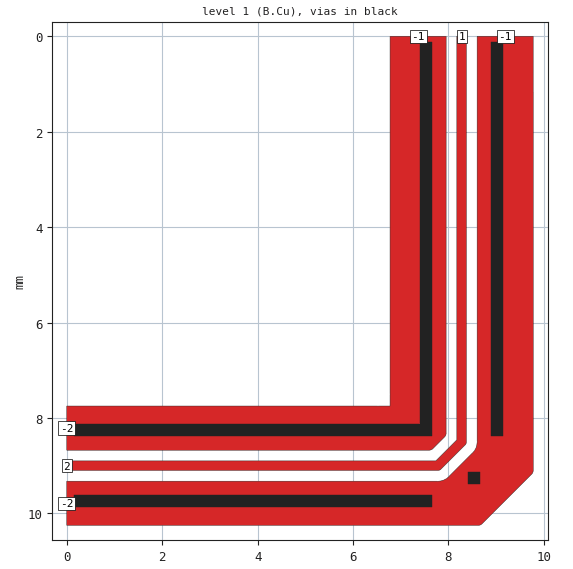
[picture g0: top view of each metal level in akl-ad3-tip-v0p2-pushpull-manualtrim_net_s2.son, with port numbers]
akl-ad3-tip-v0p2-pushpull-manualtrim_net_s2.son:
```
FTYP SONPROJ 19 ! Sonnet Project File
VER 18.01
HEADER
LIC antikernel2.1.51012 90e2ba8817c1 havequick azonenberg Level3Gold
DAT 09/28/2021 01:33:53
BUILT_BY_CREATED dxf 18.01 09/25/2021 05:46:11
BUILT_BY_SAVED sonnet 18.01
MDATE 09/28/2021 01:33:53
HDATE 09/28/2021 01:33:53
ANN Created by dxfgeo, Sonnet Software Inc.
END HEADER
DIM
ANG DEG
CAP PF
CON /OH
FREQ GHZ
IND NH
LNG MM
RES OH
END DIM
CONTROL
ABS
OPTIONS  -dj
SPEED 1
CACHE_ABS 2
Q_ACC N
END CONTROL
GEO
DRP1 LEFT NONE 2
DRP1 TOP NONE 2
TMET "Free Space" 0 FREESPACE 376.7303136 0 0 0
BMET "Lossless" 0 SUP 0 0 0 0
MET "Copper 1oz thick" 1 TMM 58000000 0.5 0.035 2
MET "Unknown_metal" 1 VOL INF 0
BOX 2 37.75 10.825 3020 866 20 0
      5 1 1 0 0 0 0 "Air"
      0.035 4.3 1 0.02 0 0 0 "Soldermask"
      0.1016 3.2 1 0.002 0 0 0 "Panasonic R-F775"
TECHLAY METAL B.Cu L1D0 -1 -65534 
1 0 0 N 813 1 1 100 100 0 0 0 Y
END
END
TECHLAY VIA Via1 L2D0 -2 -65534 
VIA POLYGON
1 0 -1 N 819 1 1 100 100 0 0 0 Y
TOLEVEL 2 RING NOCOVERS
END
END
LORGN 0 160 U 
POR1 BOX
POLY 791 1
24
-1 50 0 0 0 9.1875 0 
POR1 BOX
POLY 791 1
49
-2 50 0 0 0 -8.881784197e-16 9.788 
POR1 BOX
POLY 793 1
13
-1 50 0 0 0 7.362976499 0 
POR1 BOX
POLY 793 1
25
-2 50 0 0 0 -8.881784197e-16 8.213 
POR1 BOX
POLY 795 1
15
1 50 0 0 0 8.275 0 
POR1 BOX
POLY 795 1
19
2 50 0 0 0 -8.881784197e-16 9 
NUM 7
1 57 0 N 791 1 1 100 100 0 0 0 Y
TLAYNAM B.Cu INH
8.653 10.247
8.663 10.244
8.673 10.24
8.683 10.235
8.701 10.221
9.734 9.188
9.739 9.184
9.746 9.176
9.76 9.158
9.765 9.148
9.769 9.138
9.772 9.127
9.774 9.117
9.776 9.106
9.776 1.175
9.775 1.175
9.775 0.757
9.774 0.752
9.774 0.749
9.775 0.739
9.775 0.739
9.775 0.739
9.775 0.738
9.775 0.738
9.775 0
8.6 0
8.6 8.487
8.602 8.496
8.602 8.501
8.601 8.505
8.6 8.515
8.594 8.566
8.577 8.626
8.547 8.682
8.506 8.731
8.503 8.734
8.5 8.736
8.494 8.741
8.016 9.219
8.007 9.231
8.006 9.232
7.958 9.271
7.897 9.303
7.836 9.321
7.798 9.325
7.788 9.325
7.779 9.327
7.772 9.327
7.76 9.325
-8.881784197e-16 9.325
-8.881784197e-16 10.251
0.013 10.251
0.023 10.249
0.028 10.249
0.037 10.251
8.631 10.251
8.653 10.247
END
1 29 0 N 793 1 1 100 100 0 0 0 Y
TLAYNAM B.Cu INH
7.622 8.672
7.632 8.669
7.642 8.665
7.652 8.66
7.67 8.646
7.921 8.395
7.935 8.377
7.94 8.367
7.944 8.357
7.947 8.346
7.949 8.336
7.951 8.325
7.95 8.313
7.950952998 0
6.775 0
6.775 7.488
6.777 7.503
6.777 7.504
6.775 7.512
6.775 7.749
6.773 7.75
6.537 7.75
6.522 7.752
6.521 7.752
6.513 7.75
-8.881784197e-16 7.75
-8.881784197e-16 8.676
7.6 8.676
7.622 8.672
END
1 23 0 N 795 1 1 100 100 0 0 0 Y
TLAYNAM B.Cu INH
7.79 9.099
7.799 9.097
7.809 9.094
7.818 9.091
7.826 9.086
7.835 9.08
7.842 9.074
8.349 8.567
8.355 8.56
8.361 8.551
8.366 8.543
8.369 8.534
8.372 8.524
8.374 8.515
8.375 8.505
8.375 0
8.175 0
8.175 8.459
7.734 8.9
-8.881784197e-16 8.9
-8.881784197e-16 9.1
7.78 9.1
7.79 9.099
END
VIA POLYGON
1 5 -1 N 798 1 1 100 100 0 0 0 Y
TOLEVEL 2 RING NOCOVERS
TLAYNAM Via1 INH
8.9 8.375
8.9 0.125
9.15 0.125
9.15 8.375
8.9 8.375
END
VIA POLYGON
1 5 -1 N 799 1 1 100 100 0 0 0 Y
TOLEVEL 2 RING NOCOVERS
TLAYNAM Via1 INH
8.4 9.375
8.4 9.125
8.65 9.125
8.65 9.375
8.4 9.375
END
VIA POLYGON
1 5 -1 N 800 1 1 100 100 0 0 0 Y
TOLEVEL 2 RING NOCOVERS
TLAYNAM Via1 INH
7.65 9.625
0.15 9.625
0.15 9.875
7.65 9.875
7.65 9.625
END
VIA POLYGON
1 8 -1 N 801 1 1 100 100 0 0 0 Y
TOLEVEL 2 RING NOCOVERS
TLAYNAM Via1 INH
7.65 8.125
7.65 0.125
7.4 0.125
7.4 8.125
0.15 8.125
0.15 8.375
7.65 8.375
7.65 8.125
END
END GEO
OPT
MAX 100
END OPT
VARSWP
ENABLED Y
FREQ Y AY ABS_ENTRY 0.1 20.0 -1 300 
END
END VARSWP
```
